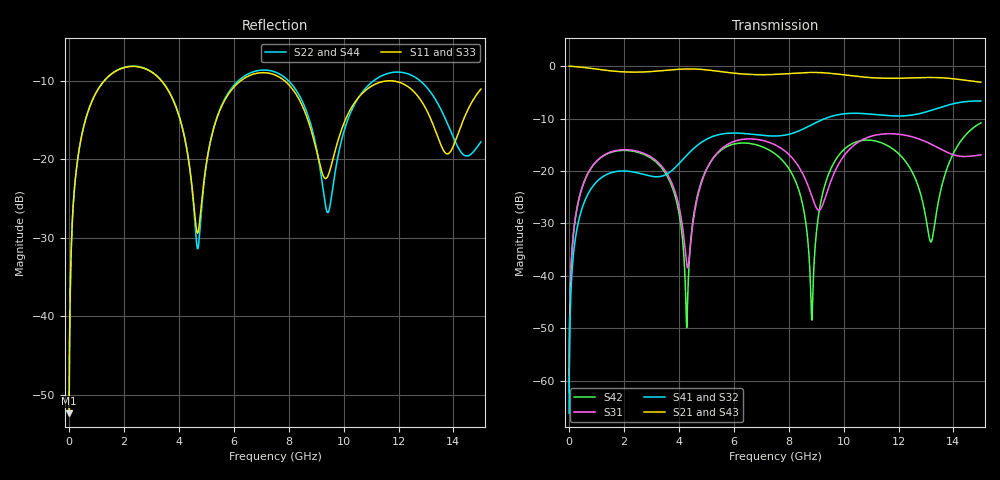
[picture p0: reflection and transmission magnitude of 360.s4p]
! Created with skrf 1.8.0 (http://scikit-rf.org).
# GHz S RI R 50.0
!freq ReS11 ImS11 ReS12 ImS12 ReS13 ImS13
! ReS14 ImS14
! ReS21 ImS21 ReS22 ImS22 ReS23 ImS23
! ReS24 ImS24
! ReS31 ImS31 ReS32 ImS32 ReS33 ImS33
! ReS34 ImS34
! ReS41 ImS41 ReS42 ImS42 ReS43 ImS43
! ReS44 ImS44
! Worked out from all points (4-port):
!   2499 points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, 5 MHz to 15 GHz, reference 50 ohm
!   strongest paths, dB at 5 MHz, 3.476 GHz, 7.19 GHz, 11.1 GHz, 15 GHz:
!     S21: 0.0, -0.8, -1.6, -2.2, -3.1
!     S43: 0.0, -0.8, -1.6, -2.2, -3.1
!     S41: -66.2, -20.8, -13.3, -9.2, -6.7
!     S32: -66.2, -20.9, -13.3, -9.2, -6.7
!     S31: -62.2, -19.7, -14.4, -13.2, -16.9
!     S42: -62.2, -20.1, -15.7, -14.2, -10.8
!   lowest |S11| = -52.4 dB at 5 MHz (marker M1), VSWR 1.00, Z = 50.2 + j0.146 ohm
!   |S11| at or under -10 dB: 3.368 GHz to 6.247 GHz (2.879 GHz wide, 59.9 % of centre); 7.858 GHz to 11.58 GHz (3.723 GHz wide, 38.3 % of centre); 11.79 GHz to end of sweep (the widest 3 of 4)
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0.005  0.00191 0.00145  0.9981 -0.00372  9.74e-05 0.000771  -9.45e-05 -0.000482
       0.9981 -0.00372  0.00191 0.00145  -9.45e-05 -0.000482  9.73e-05 0.000771
       9.74e-05 0.000771  -9.45e-05 -0.000482  0.00191 0.00145  0.9981 -0.00372
       -9.45e-05 -0.000482  9.73e-05 0.000771  0.9981 -0.00372  0.00191 0.00145
1.369321  0.2787 0.1742  0.529 -0.7401  0.1346 0.0569  -0.0925 -0.00277
          0.529 -0.7401  0.2801 0.1732  -0.0925 -0.00287  0.1308 0.0623
          0.1346 0.0569  -0.0925 -0.00287  0.2787 0.1741  0.5289 -0.7401
          -0.0925 -0.00277  0.1308 0.0623  0.5289 -0.7401  0.28 0.1732
4.289287  0.0595 -0.1002  -0.881 -0.3245  -0.0116 -0.00556  -0.0438 0.1344
          -0.881 -0.3245  0.0531 -0.1042  -0.0453 0.1338  -0.0032 -0.000371
          -0.0116 -0.00556  -0.0453 0.1338  0.0582 -0.1003  -0.8811 -0.3243
          -0.0438 0.1344  -0.0032 -0.000371  -0.8811 -0.3243  0.0541 -0.1035
4.745727  0.0353 0.0146  -0.9323 -0.0231  0.00981 0.065  0.00265 0.1814
          -0.9323 -0.0231  0.0284 0.0141  0.000769 0.1815  0.0111 0.0676
          0.00981 0.065  0.000769 0.1815  0.0339 0.0152  -0.9323 -0.0229
          0.00265 0.1814  0.0111 0.0676  -0.9323 -0.0229  0.0298 0.0145
8.841184  0.1109 -0.0988  0.7416 0.4544  -0.0428 -0.0389  0.1345 -0.2414
          0.7416 0.4544  0.094 -0.1279  0.1395 -0.2385  -0.00366 -0.001
          -0.0428 -0.0389  0.1395 -0.2385  0.1085 -0.0992  0.7418 0.4543
          0.1345 -0.2414  -0.00366 -0.001  0.7418 0.4543  0.0955 -0.1263
12.03627  0.308 -0.0317  0.0506 -0.7642  0.1244 -0.1859  -0.3318 0.0431
          0.0506 -0.7642  0.3584 -0.0304  -0.3322 0.0344  0.1292 -0.0626
          0.1244 -0.1859  -0.3322 0.0344  0.3126 -0.0297  0.0509 -0.7628
          -0.3318 0.0431  0.1292 -0.0626  0.0509 -0.7628  0.361 -0.033
15  0.2455 0.1355  -0.667 0.2208  0.0351 0.1381  0.1982 0.4207
    -0.667 0.2208  0.1272 0.0223  0.186 0.4247  0.2692 0.1014
    0.0351 0.1381  0.186 0.4247  0.2473 0.1447  -0.6654 0.2214
    0.1982 0.4207  0.2692 0.1014  -0.6654 0.2214  0.1281 0.0253
